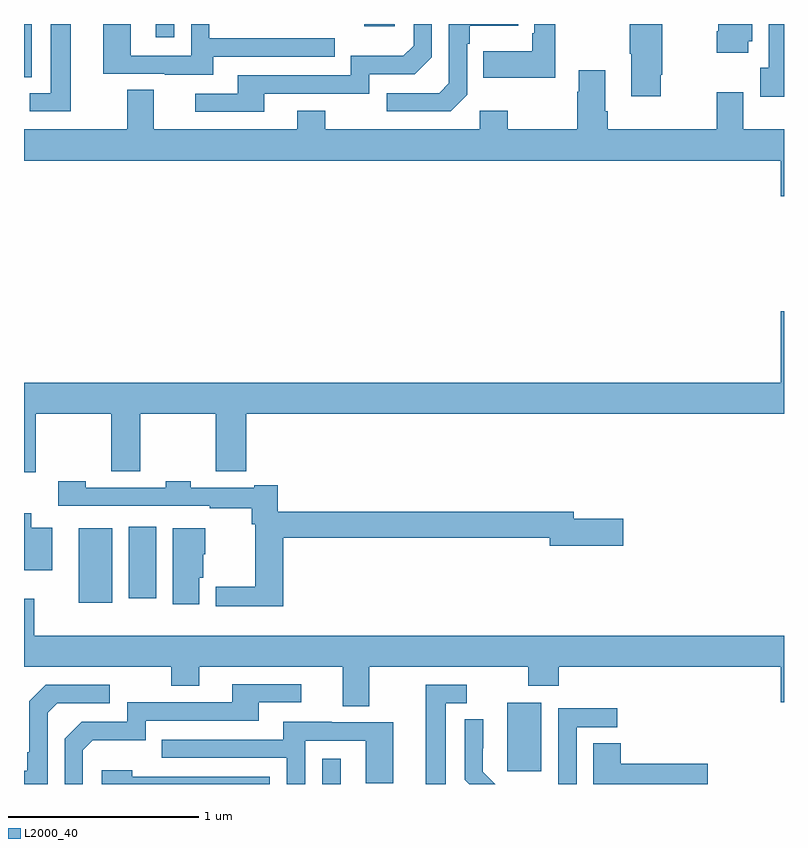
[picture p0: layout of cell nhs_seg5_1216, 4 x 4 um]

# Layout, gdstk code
import gdstk
lib = gdstk.Library(unit=1e-6, precision=1e-09)
def R(c, l, rs):  # rectangles x0, y0, x1, y1
    for r in rs: c.add(gdstk.rectangle(r[:2], r[2:], *l))
def P(c, l, *ps):  # polygons
    for p in ps: c.add(gdstk.Polygon(p, *l))
L2000_40 = (2000, 40)

nhs_seg5_1216 = lib.new_cell('nhs_seg5_1216')
R(nhs_seg5_1216, L2000_40, [(186.57,866.799,186.667,866.932), (187.544,866.865,187.723,867.226), (185.288,867.752,185.464,868.144), (185.552,867.777,185.695,868.153), (185,870.52,185.04,870.799), (185.693,870.729,185.79,870.799), (186.791,870.788,186.952,870.799)])
P(nhs_seg5_1216, L2000_40, [(187.332,870.426),(187.332,870.695),(187.345,870.695),(187.345,870.791),(187.601,870.791),(187.601,870.799),(187.236,870.799),(187.236,870.486),(187.185,870.435),(186.909,870.435),(186.909,870.339),(187.245,870.339)],
  [(187.795,870.799),(187.686,870.799),(187.686,870.751),(187.674,870.751),(187.674,870.655),(187.417,870.655),(187.417,870.515),(187.795,870.515)],
  [(185.995,870.627),(186.635,870.627),(186.635,870.723),(185.976,870.723),(185.976,870.799),(185.88,870.799),(185.88,870.633),(185.562,870.633),(185.562,870.799),(185.417,870.799),(185.417,870.537),(185.741,870.537),(185.741,870.533),(185.995,870.533)],
  [(185.245,870.799),(185.141,870.799),(185.141,870.435),(185.031,870.435),(185.031,870.339),(185.245,870.339)],
  [(188.35,870.532),(188.358,870.532),(188.358,870.799),(188.188,870.799),(188.188,870.643),(188.195,870.643),(188.195,870.42),(188.35,870.42)],
  [(188.812,870.708),(188.833,870.708),(188.833,870.799),(188.654,870.799),(188.654,870.76),(188.647,870.76),(188.647,870.648),(188.812,870.648)],
  [(189,870.799),(188.921,870.799),(188.921,870.57),(188.876,870.57),(188.876,870.416),(189,870.416)],
  [(186.265,870.432),(186.816,870.432),(186.816,870.534),(187.056,870.534),(187.146,870.624),(187.146,870.799),(187.05,870.799),(187.05,870.684),(186.997,870.631),(186.72,870.631),(186.72,870.528),(186.125,870.528),(186.125,870.432),(185.901,870.432),(185.901,870.336),(186.265,870.336)],
  [(187.398,870.343),(187.398,870.244),(186.585,870.244),(186.585,870.343),(186.437,870.343),(186.437,870.244),(185.683,870.244),(185.683,870.452),(185.543,870.452),(185.543,870.244),(185,870.244),(185,870.08),(188.984,870.08),(188.984,869.892),(189,869.892),(189,870.244),(188.785,870.244),(188.785,870.439),(188.645,870.439),(188.645,870.244),(188.072,870.244),(188.072,870.34),(188.059,870.34),(188.059,870.556),(187.919,870.556),(187.919,870.443),(187.912,870.443),(187.912,870.244),(187.545,870.244),(187.545,870.343)],
  [(185.061,868.748),(185.458,868.748),(185.458,868.444),(185.612,868.444),(185.612,868.748),(186.01,868.748),(186.01,868.444),(186.17,868.444),(186.17,868.748),(189,868.748),(189,869.287),(188.984,869.287),(188.984,868.912),(185,868.912),(185,868.44),(185.061,868.44)],
  [(186.365,868.096),(187.766,868.096),(187.766,868.054),(188.155,868.054),(188.155,868.196),(187.894,868.196),(187.894,868.232),(186.335,868.232),(186.335,868.372),(186.212,868.372),(186.212,868.359),(185.877,868.359),(185.877,868.392),(185.745,868.392),(185.745,868.359),(185.325,868.359),(185.325,868.392),(185.181,868.392),(185.181,868.263),(185.977,868.263),(185.977,868.251),(186.199,868.251),(186.199,868.166),(186.218,868.166),(186.218,867.836),(186.009,867.836),(186.009,867.734),(186.365,867.734)],
  [(185.149,868.147),(185.038,868.147),(185.038,868.225),(185,868.225),(185,867.923),(185.149,867.923)],
  [(185.923,867.885),(185.944,867.885),(185.944,868.008),(185.953,868.008),(185.953,868.144),(185.783,868.144),(185.783,867.744),(185.923,867.744)],
  [(186.817,867.416),(187.654,867.416),(187.654,867.317),(187.814,867.317),(187.814,867.416),(188.984,867.416),(188.984,867.228),(189,867.228),(189,867.58),(185.053,867.58),(185.053,867.775),(185,867.775),(185,867.416),(185.776,867.416),(185.776,867.317),(185.923,867.317),(185.923,867.416),(186.677,867.416),(186.677,867.208),(186.817,867.208)],
  [(185.31,866.976),(185.363,867.029),(185.64,867.029),(185.64,867.132),(186.235,867.132),(186.235,867.228),(186.46,867.228),(186.46,867.324),(186.095,867.324),(186.095,867.228),(185.544,867.228),(185.544,867.126),(185.304,867.126),(185.214,867.036),(185.214,866.799),(185.31,866.799)],
  [(185.124,867.174),(185.175,867.225),(185.452,867.225),(185.452,867.321),(185.115,867.321),(185.028,867.234),(185.028,866.965),(185.016,866.965),(185.016,866.869),(185,866.869),(185,866.799),(185.124,866.799)],
  [(187.219,867.225),(187.33,867.225),(187.33,867.321),(187.115,867.321),(187.115,866.799),(187.219,866.799)],
  [(187.908,867.099),(188.122,867.099),(188.122,867.198),(187.812,867.198),(187.812,866.799),(187.908,866.799)],
  [(187.415,866.864),(187.415,866.986),(187.416,866.986),(187.416,867.14),(187.32,867.14),(187.32,866.822),(187.343,866.799),(187.479,866.799)],
  [(186.48,867.027),(186.798,867.027),(186.798,866.803),(186.943,866.803),(186.943,867.123),(186.619,867.123),(186.619,867.127),(186.365,867.127),(186.365,867.033),(185.725,867.033),(185.725,866.937),(186.384,866.937),(186.384,866.799),(186.48,866.799)],
  [(188.599,866.906),(188.141,866.906),(188.141,867.014),(187.997,867.014),(187.997,866.799),(188.599,866.799)],
  [(186.294,866.838),(185.57,866.838),(185.57,866.872),(185.409,866.872),(185.409,866.799),(186.294,866.799)])

lib.write_gds('nhs_seg5_1216.gds')
